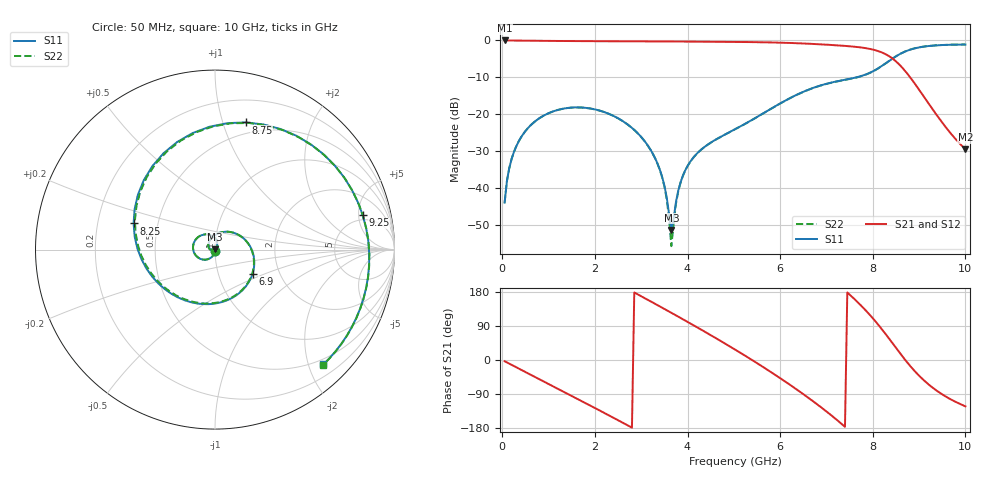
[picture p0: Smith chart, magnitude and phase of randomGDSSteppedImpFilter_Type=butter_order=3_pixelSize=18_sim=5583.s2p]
! freq	dB(S11)	phase(S11)	dB(S12)	phase(S12)
!  dB(S21)	phase(S21)	dB(S22)	phase(S22)
!S-par simulation data
#  GHz  S  DB  R 50
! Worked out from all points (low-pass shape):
!   200 points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, 50 MHz to 10 GHz, reference 50 ohm
!   highest |S21| = -0.01 dB at 50 MHz (marker M1); lowest = -29.5 dB at 10 GHz (marker M2)
!   |S21| within 3 dB of the highest: start of sweep to 8.146 GHz
!   lowest |S11| = -51.3 dB at 3.65 GHz (marker M3), VSWR 1.01, Z = 49.9 + j0.245 ohm
!   |S11| at or under -10 dB: start of sweep to 7.645 GHz
!   |S22| runs from -55.7 to -1.1 dB; largest |S21 - S12| = 0
!   S11 on the Smith chart (normalised r, x): 50 MHz: 1.00, -0.01; 6.9 GHz: 1.46, -0.42; 8.25 GHz: 0.36, +0.14; 8.75 GHz: 0.39, +1.19; 9.25 GHz: 4.22, +5.64; 10 GHz: 0.40, -2.26
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0.05  -43.96 -89.5  -0.01 -3.2  -0.01 -3.2  -43.96 -89.5
0.2  -32.16 -102.0  -0.02 -12.8  -0.02 -12.8  -32.16 -102.0
0.5  -24.55 -122.0  -0.06 -31.8  -0.06 -31.8  -24.55 -122.2
1.15  -19.01 -163.4  -0.14 -72.8  -0.14 -72.8  -19.01 -163.8
1.75  -18.21 158.7  -0.20 -110.8  -0.20 -110.8  -18.21 157.9
2.6  -21.84 104.8  -0.22 -165.4  -0.22 -165.4  -21.85 102.7
3.4  -34.93 58.5  -0.26 141.5  -0.26 141.5  -35.03 45.6
3.55  -42.49 60.5  -0.27 131.4  -0.27 131.4  -42.95 28.0
3.65  -51.32 115.2  -0.28 124.6  -0.28 124.6  -55.74 -44.8
3.8  -40.67 -173.8  -0.29 114.4  -0.29 114.4  -40.88 -147.5
4  -34.02 -178.7  -0.31 100.7  -0.31 100.7  -34.06 -166.6
5.05  -23.91 111.7  -0.40 25.8  -0.40 25.8  -23.93 114.7
5.8  -18.53 57.1  -0.54 -31.7  -0.54 -31.7  -18.54 57.8
6.7  -12.92 -14.9  -0.94 -107.9  -0.94 -107.9  -12.95 -15.8
6.9  -12.09 -32.4  -1.08 -126.3  -1.08 -126.3  -12.13 -33.6
7.55  -10.27 -97.0  -1.64 167.0  -1.64 167.0  -10.34 -99.3
7.95  -8.69 -149.2  -2.33 117.2  -2.33 117.2  -8.74 -152.1
8.25  -6.44 162.2  -3.55 72.8  -3.55 72.8  -6.45 159.4
8.35  -5.56 144.6  -4.25 56.8  -4.25 56.8  -5.56 142.1
8.75  -2.75 76.5  -9.07 -7.4  -9.07 -7.4  -2.73 74.9
9.25  -1.46 13.1  -17.89 -68.9  -17.89 -68.9  -1.45 12.2
10  -1.11 -46.6  -29.48 -122.4  -29.48 -122.4  -1.11 -47.0
